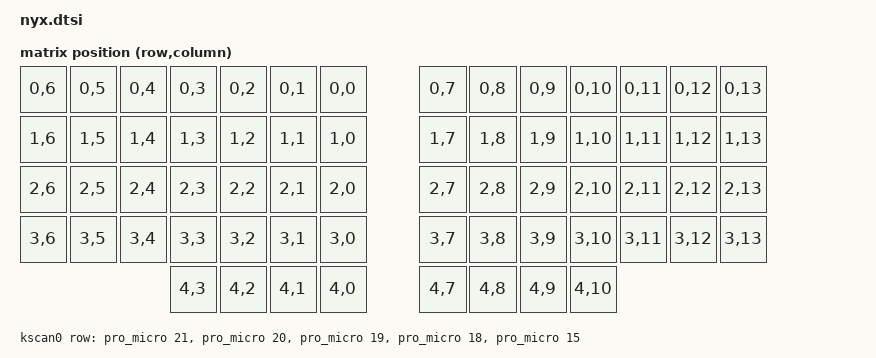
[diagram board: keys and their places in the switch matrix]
/*
 * Copyright (c) 2020 Tad Fisher
 *
 * SPDX-License-Identifier: MIT
 */

#include <dt-bindings/zmk/matrix_transform.h>

/ {
	chosen {
		zmk,kscan = &kscan0;
		zmk,matrix_transform = &default_transform;
	};

	default_transform: keymap_transform_0 {
		compatible = "zmk,matrix-transform";
		columns = <14>;
		rows = <5>;
// | S7  | S6  | S5  | S4  | S3  | S2  | S1  |   | S1  | S2  | S3  | S4  | S5  | S6  | S7  |
// | S14 | S13 | S12 | S11 | S10 | S9  | S8  |   | S8  | S9  | S10 | S11 | S12 | S13 | S14 |
// | S21 | S20 | S19 | S18 | S17 | S16 | S15 |   | S15 | S16 | S17 | S18 | S19 | S20 | S21 |
// | S28 | S27 | S26 | S25 | S24 | S23 | S22 |   | S22 | S23 | S24 | S25 | S26 | S27 | S28 |
//                   | S32 | S31 | S30 | S29 |   | S29 | S30 | S31 | S32 |
		map = <
RC(0,6) RC(0,5) RC(0,4) RC(0,3) RC(0,2) RC(0,1) RC(0,0)         RC(0,7) RC(0,8) RC(0,9) RC(0,10) RC(0,11) RC(0,12) RC(0,13)
RC(1,6) RC(1,5) RC(1,4) RC(1,3) RC(1,2) RC(1,1) RC(1,0)         RC(1,7) RC(1,8) RC(1,9) RC(1,10) RC(1,11) RC(1,12) RC(1,13)
RC(2,6) RC(2,5) RC(2,4) RC(2,3) RC(2,2) RC(2,1) RC(2,0)         RC(2,7) RC(2,8) RC(2,9) RC(2,10) RC(2,11) RC(2,12) RC(2,13)
RC(3,6) RC(3,5) RC(3,4) RC(3,3) RC(3,2) RC(3,1) RC(3,0)         RC(3,7) RC(3,8) RC(3,9) RC(3,10) RC(3,11) RC(3,12) RC(3,13)
                        RC(4,3) RC(4,2) RC(4,1) RC(4,0)         RC(4,7) RC(4,8) RC(4,9) RC(4,10)
		>;
	};

	kscan0: kscan {
		compatible = "zmk,kscan-gpio-matrix";
		label = "KSCAN";

		diode-direction = "col2row";
		row-gpios
			= <&pro_micro 21 (GPIO_ACTIVE_HIGH | GPIO_PULL_DOWN)> // row0
			, <&pro_micro 20 (GPIO_ACTIVE_HIGH | GPIO_PULL_DOWN)> // row1
			, <&pro_micro 19 (GPIO_ACTIVE_HIGH | GPIO_PULL_DOWN)> // row2
			, <&pro_micro 18 (GPIO_ACTIVE_HIGH | GPIO_PULL_DOWN)> // row3
            , <&pro_micro 15 (GPIO_ACTIVE_HIGH | GPIO_PULL_DOWN)> // row4
			;

	};
};
